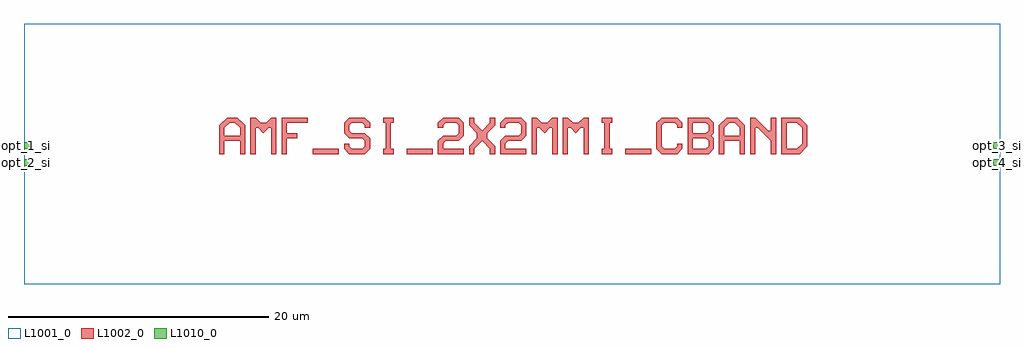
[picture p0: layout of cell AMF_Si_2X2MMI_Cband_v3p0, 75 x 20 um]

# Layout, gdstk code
import gdstk
lib = gdstk.Library(unit=1e-6, precision=1e-09)
def R(c, l, rs):  # rectangles x0, y0, x1, y1
    for r in rs: c.add(gdstk.rectangle(r[:2], r[2:], *l))
def P(c, l, *ps):  # polygons
    for p in ps: c.add(gdstk.Polygon(p, *l))
L1001_0 = (1001, 0)
L1002_0 = (1002, 0)
L1010_0 = (1010, 0)

amf_si_2x2mmi_cband_v3p0 = lib.new_cell('AMF_Si_2X2MMI_Cband_v3p0')
R(amf_si_2x2mmi_cband_v3p0, L1001_0, [(0,-10,75,10)])
R(amf_si_2x2mmi_cband_v3p0, L1002_0, [(22.2,0,24.2,0.4), (29.4,0,31.4,0.4), (46.2,0,48.2,0.4)])
P(amf_si_2x2mmi_cband_v3p0, L1002_0, [(15,0),(15,2.2),(15.6,2.8),(16.4,2.8),(16.8,2.4),(15.8,2.4),(15.4,2),(15.4,1.4),(16.6,1.4),(16.6,2),(16.2,2.4),(16.8,2.4),(17,2.2),(17,0),(16.6,0),(16.6,1),(15.4,1),(15.4,0)],
  [(17.4,0),(17.4,2.8),(17.8,2.8),(18.2,2.4),(18.6,2.4),(19,2.8),(19.4,2.8),(19.4,0),(19,0),(19,2),(18.8,2),(18.4,1.6),(18,2),(17.8,2),(17.8,0)],
  [(19.8,0),(19.8,2.8),(21.8,2.8),(21.8,2.4),(20.2,2.4),(20.2,1.6),(21,1.6),(21,1.2),(20.2,1.2),(20.2,0)],
  [(25,0),(24.6,0.4),(24.6,0.8),(25,0.8),(25,0.6),(25.2,0.4),(26,0.4),(26.2,0.6),(26.2,1),(26,1.2),(25,1.2),(24.6,1.6),(24.6,2.4),(25,2.8),(26.2,2.8),(26.6,2.4),(26.6,2),(26.2,2),(26.2,2.2),(26,2.4),(25.2,2.4),(25,2.2),(25,1.8),(25.2,1.6),(26.2,1.6),(26.6,1.2),(26.6,0.4),(26.2,0)],
  [(27.6,0),(27.6,0.4),(27.8,0.4),(27.8,2.4),(27.6,2.4),(27.6,2.8),(28.4,2.8),(28.4,2.4),(28.2,2.4),(28.2,0.4),(28.4,0.4),(28.4,0)],
  [(31.8,0),(31.8,1),(32.2,1.4),(33.2,1.4),(33.4,1.6),(33.4,2.2),(33.2,2.4),(32.4,2.4),(32.2,2.2),(32.2,2),(31.8,2),(31.8,2.4),(32.2,2.8),(33.4,2.8),(33.8,2.4),(33.8,1.4),(33.4,1),(32.4,1),(32.2,0.8),(32.2,0.4),(33.8,0.4),(33.8,0)],
  [(34.2,0),(34.2,0.6),(34.8,1.2),(34.8,1.6),(34.2,2.2),(34.2,2.8),(34.6,2.8),(34.6,2.4),(35.2,1.8),(35.8,2.4),(35.8,2.8),(36.2,2.8),(36.2,2.2),(35.6,1.6),(35.6,1.2),(36.2,0.6),(36.2,0),(35.8,0),(35.8,0.4),(35.2,1),(34.6,0.4),(34.6,0)],
  [(36.6,0),(36.6,1),(37,1.4),(38,1.4),(38.2,1.6),(38.2,2.2),(38,2.4),(37.2,2.4),(37,2.2),(37,2),(36.6,2),(36.6,2.4),(37,2.8),(38.2,2.8),(38.6,2.4),(38.6,1.4),(38.2,1),(37.2,1),(37,0.8),(37,0.4),(38.6,0.4),(38.6,0)],
  [(39,0),(39,2.8),(39.4,2.8),(39.8,2.4),(40.2,2.4),(40.6,2.8),(41,2.8),(41,0),(40.6,0),(40.6,2),(40.4,2),(40,1.6),(39.6,2),(39.4,2),(39.4,0)],
  [(41.4,0),(41.4,2.8),(41.8,2.8),(42.2,2.4),(42.6,2.4),(43,2.8),(43.4,2.8),(43.4,0),(43,0),(43,2),(42.8,2),(42.4,1.6),(42,2),(41.8,2),(41.8,0)],
  [(44.4,0),(44.4,0.4),(44.6,0.4),(44.6,2.4),(44.4,2.4),(44.4,2.8),(45.2,2.8),(45.2,2.4),(45,2.4),(45,0.4),(45.2,0.4),(45.2,0)],
  [(49,0),(48.6,0.4),(48.6,2.4),(49,2.8),(50.2,2.8),(50.6,2.4),(50.6,2),(50.2,2),(50.2,2.2),(50,2.4),(49.2,2.4),(49,2.2),(49,0.6),(49.2,0.4),(50,0.4),(50.2,0.6),(50.2,0.8),(50.6,0.8),(50.6,0.4),(50.2,0)],
  [(51,0),(51,2.8),(52.6,2.8),(53,2.4),(51.4,2.4),(51.4,1.6),(52.4,1.6),(52.6,1.8),(52.6,2.2),(52.4,2.4),(53,2.4),(53,1.6),(52.8,1.4),(53,1.2),(51.4,1.2),(51.4,0.4),(52.4,0.4),(52.6,0.6),(52.6,1),(52.4,1.2),(53,1.2),(53,0.4),(52.6,0)],
  [(53.4,0),(53.4,2.2),(54,2.8),(54.8,2.8),(55.2,2.4),(54.2,2.4),(53.8,2),(53.8,1.4),(55,1.4),(55,2),(54.6,2.4),(55.2,2.4),(55.4,2.2),(55.4,0),(55,0),(55,1),(53.8,1),(53.8,0)],
  [(55.8,0),(55.8,2.8),(56.2,2.8),(57.2,1.8),(57.4,1.8),(57.4,2.8),(57.8,2.8),(57.8,0),(57.4,0),(57.4,1),(56.4,2),(56.2,2),(56.2,0)],
  [(58.2,0),(58.2,2.8),(59.6,2.8),(60,2.4),(58.6,2.4),(58.6,0.4),(59.4,0.4),(59.8,0.8),(59.8,2),(59.4,2.4),(60,2.4),(60.2,2.2),(60.2,0.6),(59.6,0)])
R(amf_si_2x2mmi_cband_v3p0, L1010_0, [(0,-0.917,0.5,-0.417), (74.5,-0.917,75,-0.417), (0,0.417,0.5,0.917), (74.5,0.417,75,0.917)])
amf_si_2x2mmi_cband_v3p0.add(gdstk.Label('opt_1_si', (0,0.667), layer=1010, texttype=0))
amf_si_2x2mmi_cband_v3p0.add(gdstk.Label('opt_2_si', (0,-0.667), layer=1010, texttype=0))
amf_si_2x2mmi_cband_v3p0.add(gdstk.Label('opt_3_si', (75,0.667), layer=1010, texttype=0))
amf_si_2x2mmi_cband_v3p0.add(gdstk.Label('opt_4_si', (75,-0.667), layer=1010, texttype=0))

lib.write_gds('AMF_Si_2X2MMI_Cband_v3p0.gds')
